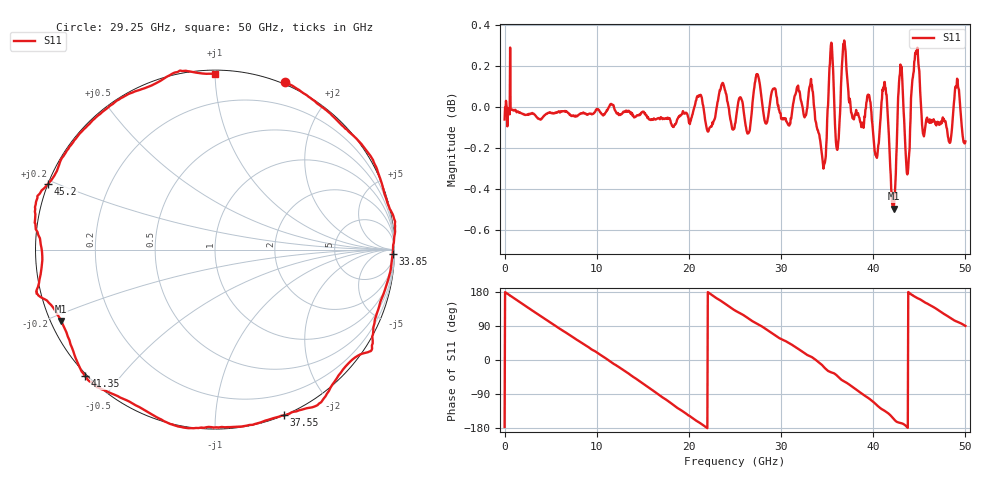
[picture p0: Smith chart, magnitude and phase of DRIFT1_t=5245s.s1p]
!Created with skrf (http://scikit-rf.org).
# Hz S RI R 50.0
!freq ReS11 ImS11
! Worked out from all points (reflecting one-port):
!   1001 points, 300 kHz to 50 GHz, reference 50 ohm
!   lowest |S11| = -0.5 dB at 42.2 GHz (marker M1), VSWR 35.15, Z = 1.49 - j11 ohm
!   phase of S11 starts at -177 deg and turns -813 deg over the sweep
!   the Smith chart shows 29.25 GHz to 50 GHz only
!   S11 on the Smith chart (normalised r, x): 29.25 GHz: -0.02, +1.50; 33.85 GHz: 30, -69; 37.55 GHz: 0.00, -1.50; 41.35 GHz: -0.01, -0.40; 45.2 GHz: 0.00, +0.19; 50 GHz: 0.02, +1.00
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300000  -0.9913 -0.0578
1.60029e9  -0.893 0.4437
3.35028e9  -0.5704 0.8155
6.250262e9  0.1992 0.9774
9.500243e9  0.8882 0.4506
1.115023e10  0.9979 0.0234
1.250022e10  0.9342 -0.3452
1.410022e10  0.68 -0.7254
1.580021e10  0.2466 -0.9617
1.73502e10  -0.2049 -0.9719
1.875019e10  -0.5911 -0.7982
2.155017e10  -0.9911 -0.1388
2.345016e10  -0.9255 0.4047
2.500015e10  -0.646 0.751
2.730014e10  -0.1256 1.01
2.925012e10  0.3909 0.9317
3.125011e10  0.7772 0.6284
3.38501e10  0.989 -0.0241
3.520009e10  0.8787 -0.5075
3.750008e10  0.398 -0.9207
3.755007e10  0.383 -0.9233
3.950006e10  -0.1892 -0.9882
4.135005e10  -0.7259 -0.7029
4.220005e10  -0.8566 -0.3983
4.375004e10  -0.9635 -0.0151
4.520003e10  -0.929 0.3682
4.775001e10  -0.504 0.8544
5e10  0.00124 0.9809
